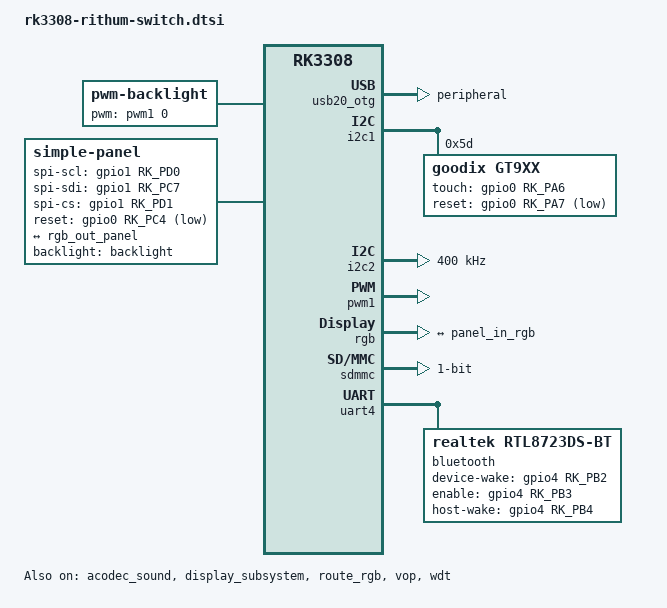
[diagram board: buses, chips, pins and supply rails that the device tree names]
// SPDX-License-Identifier: (GPL-2.0+ OR MIT)
/*
 * Rithum Switch family: common parts for the Rithum Switch (rs) and
 * Rithum Switch Pro (rsp).
 *
 * The hardware is a Rockchip RK3308 Voice Module AMIC Main Board V10
 * with a 480x480 RGB666 panel (ST7701-class controller, initialised
 * over 3-wire 9-bit GPIO bit-bang SPI), a Goodix GT911 touchscreen and
 * a PWM backlight. Derived from the factory 4.4 rk-kernel.dtb
 * extracted from production devices; the factory kernel's custom
 * sensor nodes (aht20@38 on i2c2, wh4530a@38 on i2c1) are deliberately
 * NOT carried over - both sensors are read from userspace via i2c-dev,
 * so their addresses must stay unclaimed.
 */

#include "rk3308-voice-module-amic-mainboard-v10-aarch32.dts"

/ {
	/delete-node/ gpio-keys;

	adc-keys {
		autorepeat;

		/delete-node/ esc-key;
		/delete-node/ home-key;
		/delete-node/ menu-key;
		/delete-node/ vol-down-key;
		/delete-node/ vol-up-key;

		pwr-key {
			label = "Key Power";
			linux,code = <KEY_POWER>;
			press-threshold-microvolt = <18000>;
		};
	};

	backlight: backlight {
		compatible = "pwm-backlight";
		pwms = <&pwm1 0 25000 0>;
		brightness-levels = <
			  0   1   2   3   4   5   6   7
			  8   9  10  11  12  13  14  15
			 16  17  18  19  20  21  22  23
			 24  25  26  27  28  29  30  31
			 32  33  34  35  36  37  38  39
			 40  41  42  43  44  45  46  47
			 48  49  50  51  52  53  54  55
			 56  57  58  59  60  61  62  63
			 64  65  66  67  68  69  70  71
			 72  73  74  75  76  77  78  79
			 80  81  82  83  84  85  86  87
			 88  89  90  91  92  93  94  95
			 96  97  98  99 100 101 102 103
			104 105 106 107 108 109 110 111
			112 113 114 115 116 117 118 119
			120 121 122 123 124 125 126 127
			128 129 130 131 132 133 134 135
			136 137 138 139 140 141 142 143
			144 145 146 147 148 149 150 151
			152 153 154 155 156 157 158 159
			160 161 162 163 164 165 166 167
			168 169 170 171 172 173 174 175
			176 177 178 179 180 181 182 183
			184 185 186 187 188 189 190 191
			192 193 194 195 196 197 198 199
			200 201 202 203 204 205 206 207
			208 209 210 211 212 213 214 215
			216 217 218 219 220 221 222 223
			224 225 226 227 228 229 230 231
			232 233 234 235 236 237 238 239
			240 241 242 243 244 245 246 247
			248 249 250 251 252 253 254 255>;
		default-brightness-level = <255>;
	};

	/*
	 * The panel's ST7701-class controller is initialised over a 3-wire
	 * 9-bit SPI command bus bit-banged directly off GPIOs (same pins as
	 * the rk3308-evb-ext reference and the factory 4.4 kernel). Our
	 * panel-simple carries a GPIO bit-bang path (rockchip,cmd-type =
	 * "spi" with spi-scl/sdi/cs-gpios) mirroring u-boot's rockchip_panel
	 * write path, so the panel is a plain root-level node instead of a
	 * child of an SPI controller.
	 */
	panel: panel {
		compatible = "simple-panel";
		pinctrl-names = "default";
		pinctrl-0 = <&spi_init_cmd>;
		spi-scl-gpios = <&gpio1 RK_PD0 GPIO_ACTIVE_HIGH>;
		spi-sdi-gpios = <&gpio1 RK_PC7 GPIO_ACTIVE_HIGH>;
		spi-cs-gpios = <&gpio1 RK_PD1 GPIO_ACTIVE_HIGH>;
		bus-format = <MEDIA_BUS_FMT_RGB666_1X18>;
		backlight = <&backlight>;
		/*
		 * enable-gpios is variant-specific and set in the per-board
		 * .dts (Pro: gpio3 PA7, RS: gpio2 PA1) - do NOT default it here,
		 * or one board silently drives the other's pin and its panel
		 * never enables. The pin also needs muxing to GPIO in the panel
		 * pinctrl-0 (u-boot doesn't mux-on-gpio-request), likewise per
		 * board.
		 */
		enable-delay-ms = <20>;
		reset-gpios = <&gpio0 RK_PC4 GPIO_ACTIVE_LOW>;
		reset-delay-ms = <10>;
		prepare-delay-ms = <20>;
		init-delay-ms = <100>;
		unprepare-delay-ms = <20>;
		disable-delay-ms = <20>;
		width-mm = <72>;
		height-mm = <70>;
		rockchip,cmd-type = "spi";
		status = "okay";

		/*
		 * Byte-exact copy of the factory DTB's init
		 * sequence (type delay num val).
		 */
		panel-init-sequence = [
			00 32 01 11
			00 00 01 ff 01 00 01 77 01 00 01 01
			01 00 01 00 01 00 01 00 01 00 01 10
			00 00 01 c0 01 00 01 3b 01 00 01 00
			00 00 01 c1 01 00 01 0d 01 00 01 02
			00 00 01 c2 01 00 01 31 01 00 01 05
			00 00 01 b0 01 00 01 00 01 00 01 11
			01 00 01 18 01 00 01 0e 01 00 01 11
			01 00 01 06 01 00 01 07 01 00 01 08
			01 00 01 07 01 00 01 22 01 00 01 04
			01 00 01 12 01 00 01 0f 01 00 01 aa
			01 00 01 31 01 00 01 18
			00 00 01 b1 01 00 01 00 01 00 01 11
			01 00 01 19 01 00 01 0e 01 00 01 12
			01 00 01 07 01 00 01 08 01 00 01 08
			01 00 01 08 01 00 01 22 01 00 01 04
			01 00 01 11 01 00 01 11 01 00 01 a9
			01 00 01 32 01 00 01 18
			00 00 01 ff 01 00 01 77 01 00 01 01
			01 00 01 00 01 00 01 00 01 00 01 11
			00 00 01 b0 01 00 01 60
			00 00 01 b1 01 00 01 32
			00 00 01 b2 01 00 01 07
			00 00 01 b3 01 00 01 80
			00 00 01 b5 01 00 01 49
			00 00 01 b7 01 00 01 85
			00 00 01 b8 01 00 01 21
			00 00 01 c1 01 00 01 78
			00 00 01 c2 01 00 01 78
			00 00 01 e0 01 00 01 00 01 00 01 1b
			01 00 01 02
			00 00 01 e1 01 00 01 08 01 00 01 a0
			01 00 01 00 01 00 01 00 01 00 01 07
			01 00 01 a0 01 00 01 00 01 00 01 00
			01 00 01 00 01 00 01 44 01 00 01 44
			00 00 01 e2 01 00 01 11 01 00 01 11
			01 00 01 44 01 00 01 44 01 00 01 ed
			01 00 01 a0 01 00 01 00 01 00 01 00
			01 00 01 ec 01 00 01 a0 01 00 01 00
			01 00 01 00
			00 00 01 e3 01 00 01 00 01 00 01 00
			01 00 01 11 01 00 01 11
			00 00 01 e4 01 00 01 44 01 00 01 44
			00 00 01 e5 01 00 01 0a 01 00 01 e9
			01 00 01 d8 01 00 01 a0 01 00 01 0c
			01 00 01 eb 01 00 01 d8 01 00 01 a0
			01 00 01 0e 01 00 01 ed 01 00 01 d8
			01 00 01 a0 01 00 01 10 01 00 01 ef
			01 00 01 d8 01 00 01 a0
			00 00 01 e6 01 00 01 00 01 00 01 00
			01 00 01 11 01 00 01 11
			00 00 01 e7 01 00 01 44 01 00 01 44
			00 00 01 e8 01 00 01 09 01 00 01 e8
			01 00 01 d8 01 00 01 a0 01 00 01 0b
			01 00 01 ea 01 00 01 d8 01 00 01 a0
			01 00 01 0d 01 00 01 ec 01 00 01 d8
			01 00 01 a0 01 00 01 0f 01 00 01 ee
			01 00 01 d8 01 00 01 a0
			00 00 01 eb 01 00 01 02 01 00 01 00
			01 00 01 e4 01 00 01 e4 01 00 01 88
			01 00 01 00 01 00 01 40
			00 00 01 ec 01 00 01 3c 01 00 01 00
			00 00 01 ed 01 00 01 ab 01 00 01 89
			01 00 01 76 01 00 01 54 01 00 01 02
			01 00 01 ff 01 00 01 ff 01 00 01 ff
			01 00 01 ff 01 00 01 ff 01 00 01 ff
			01 00 01 20 01 00 01 45 01 00 01 67
			01 00 01 98 01 00 01 ba
			00 00 01 36 01 00 01 00
			00 00 01 ff 01 00 01 77 01 00 01 01
			01 00 01 00 01 00 01 00 01 00 01 13
			00 00 01 e5 01 0a 01 e4
			00 00 01 3a 01 00 01 66
			00 0c 01 29
		];

		display-timings {
			native-mode = <&panel_timing>;

			panel_timing: timing0 {
				clock-frequency = <32000000>;
				hactive = <480>;
				vactive = <480>;
				hback-porch = <75>;
				hfront-porch = <75>;
				vback-porch = <15>;
				vfront-porch = <15>;
				hsync-len = <8>;
				vsync-len = <5>;
				hsync-active = <0>;
				vsync-active = <0>;
				de-active = <0>;
				pixelclk-active = <0>;
			};
		};

		port {
			panel_in_rgb: endpoint {
				remote-endpoint = <&rgb_out_panel>;
			};
		};
	};
};

&acodec {
	hp-ctl-gpios = <&gpio0 RK_PA1 GPIO_ACTIVE_HIGH>;
	rockchip,adc-grps-route = <3 2 1 0>;
	rockchip,en-always-grps = <3>;
	rockchip,loopback-grp = <2>;
};

/*
 * Audio topology. This board inherits the rk3308 voice-module (wake-word)
 * sound setup, which leaves the dedicated acodec card disabled and exposes
 * the internal codec only through a VAD card, sitting behind an inherited
 * i2s_2ch_0 + dummy_codec "bluetooth" card at ALSA index 0 - so playback to
 * the default card is silent (it lands on the dummy codec).
 *
 * The Rithum Switch uses neither VAD nor BT-audio-over-I2S (Bluetooth is
 * BLE config/scan only). Enable the clean acodec card (speaker + mic +
 * line-out on i2s_8ch_2 + acodec) and disable both inherited cards, so the
 * acodec enumerates as the sole rockchip sound card at index 0. tinyalsa
 * (tinyplay/tinymix, which always use card 0 and ignore asound.conf), ALSA
 * default-card tools, the app and the factory test then all hit the real
 * codec with no -D override. vad-sound is disabled rather than tweaked
 * because it contends for the same i2s_8ch_2 + acodec that acodec_sound
 * needs; bluetooth-sound because nothing drives i2s_2ch_0.
 */
&acodec_sound {
	status = "okay";
};

&bluetooth_sound {
	status = "disabled";
};

&{/vad-sound} {
	status = "disabled";
};

/*
 * The kernel's SPDIF driver was dropped (no SPDIF output on this board), but
 * the inherited voice-module mainboard leaves spdif_tx + its spdif-tx-sound
 * simple-audio-card enabled, so both fail to probe ("could not get
 * #sound-dai-cells ... probe failed -22"). Disable them to keep the boot
 * log clean.
 */
&spdif_tx_sound {
	status = "disabled";
};

&spdif_tx {
	status = "disabled";
};

&display_subsystem {
	status = "okay";
};

/*
 * The dwc2 OTG port is the ADB port (device-mode to a host PC); the
 * RTL8152 ethernet and other USB live on the EHCI/OHCI host controllers.
 * In "otg" mode with no ID/role signal dwc2 defaults to host, so the ADB
 * gadget never enumerates - force peripheral.
 */
&usb20_otg {
	dr_mode = "peripheral";
};

&i2c1 {
	gt9xx: touchscreen@5d {
		compatible = "goodix,gt9xx";
		reg = <0x5d>;
		pinctrl-names = "default";
		pinctrl-0 = <&touch_gpio>;
		touch-gpio = <&gpio0 RK_PA6 IRQ_TYPE_LEVEL_LOW>;
		reset-gpio = <&gpio0 RK_PA7 GPIO_ACTIVE_LOW>;
		max-x = <480>;
		max-y = <480>;
		/*
		 * GT911 with identity axis mapping (the driver requires
		 * tp-size and confusingly reports its absence as "no
		 * max-x defined"). Adjust to 911 if touch turns out
		 * swapped/mirrored against the panel.
		 */
		tp-size = <9110>;
		status = "okay";
	};
};

/* Front LED ring controller: present but unused by the product. */
&is31fl3236 {
	status = "disabled";
};

/* aht20 temperature/humidity sensor bus - read from userspace. */
&i2c2 {
	clock-frequency = <400000>;
	status = "okay";
};

&nandc {
	status = "disabled";
};

&pwm1 {
	status = "okay";
};

&rgb {
	status = "okay";
	pinctrl-names = "default";
	pinctrl-0 = <&lcdc_ctl>;

	ports {
		rgb_out: port@1 {
			reg = <1>;
			#address-cells = <1>;
			#size-cells = <0>;

			rgb_out_panel: endpoint@0 {
				reg = <0>;
				remote-endpoint = <&panel_in_rgb>;
			};
		};
	};
};

&route_rgb {
	status = "okay";
};

/*
 * SD card slot. Board-level pin conflict: the 4-bit data bus shares
 * gpio4-26/27 with the UART2-M1 debug console. uart2 is disabled and the
 * FIQ debugger inherits the preloader's M1 routing (GRF_SOC_CON5=0x194) on
 * those pins, so in 4-bit mode the SD controller claims them at probe and
 * the serial console dies mid-boot (right at the dwmmc probe). Run the slot
 * in 1-bit mode (data on gpio4-24 only, via sdmmc_bus1) so the console
 * survives.
 *
 * DEVELOPMENT/BENCH setting. PRODUCTION must restore bus-width = <4> with
 * sdmmc_bus4: the sdcard-update feature needs the full data bus, and
 * production has no serial console anyway (display + ssh/adb). To be split
 * per-image once the kernel becomes the linux-rithum recipe. See
 * rk3308-serial-console-writeup.md.
 */
&sdmmc {
	bus-width = <1>;
	pinctrl-names = "default";
	pinctrl-0 = <&sdmmc_clk &sdmmc_cmd &sdmmc_det &sdmmc_bus1>;
	status = "okay";
};

&vop {
	status = "okay";
};

&wdt {
	status = "okay";
};

/*
 * Bluetooth: RTL8723DS over UART4 via the mainline serdev/H5 path - hci_uart
 * + btrtl auto-attach hci0 at boot, replacing the voice-module mainboard's
 * vendor rfkill-bt + userspace rtk_hciattach approach. The mainboard freed
 * RTS to bit-bang it as a GPIO; restore hardware flow control here and
 * disable the bluetooth-platdata node so it doesn't fight the serdev binding
 * over BT_REG_ON (gpio4 PB3). GPIOs match rock-pi-s, the RK3308 RTL8723DS
 * reference (enable PB3, host-wake PB4 identical to our vendor node).
 */
&uart4 {
	pinctrl-names = "default";
	pinctrl-0 = <&uart4_xfer &uart4_cts &uart4_rts>;
	uart-has-rtscts;
	status = "okay";

	bluetooth {
		compatible = "realtek,rtl8723ds-bt";
		device-wake-gpios = <&gpio4 RK_PB2 GPIO_ACTIVE_HIGH>;
		enable-gpios = <&gpio4 RK_PB3 GPIO_ACTIVE_HIGH>;
		host-wake-gpios = <&gpio4 RK_PB4 GPIO_ACTIVE_HIGH>;
	};
};

&{/wireless-bluetooth} {
	status = "disabled";
};

&pinctrl {
	spi-panel {
		spi_init_cmd: spi-init-cmd {
			rockchip,pins =
				<1 RK_PC6 RK_FUNC_GPIO &pcfg_pull_none>,
				<1 RK_PC7 RK_FUNC_GPIO &pcfg_pull_none>,
				<1 RK_PD0 RK_FUNC_GPIO &pcfg_pull_none>,
				<1 RK_PD1 RK_FUNC_GPIO &pcfg_pull_none>;
		};
	};

	touch-screen {
		touch_gpio: touch-gpio {
			rockchip,pins =
				<0 RK_PA6 RK_FUNC_GPIO &pcfg_pull_up_8ma>;
		};
	};
};
